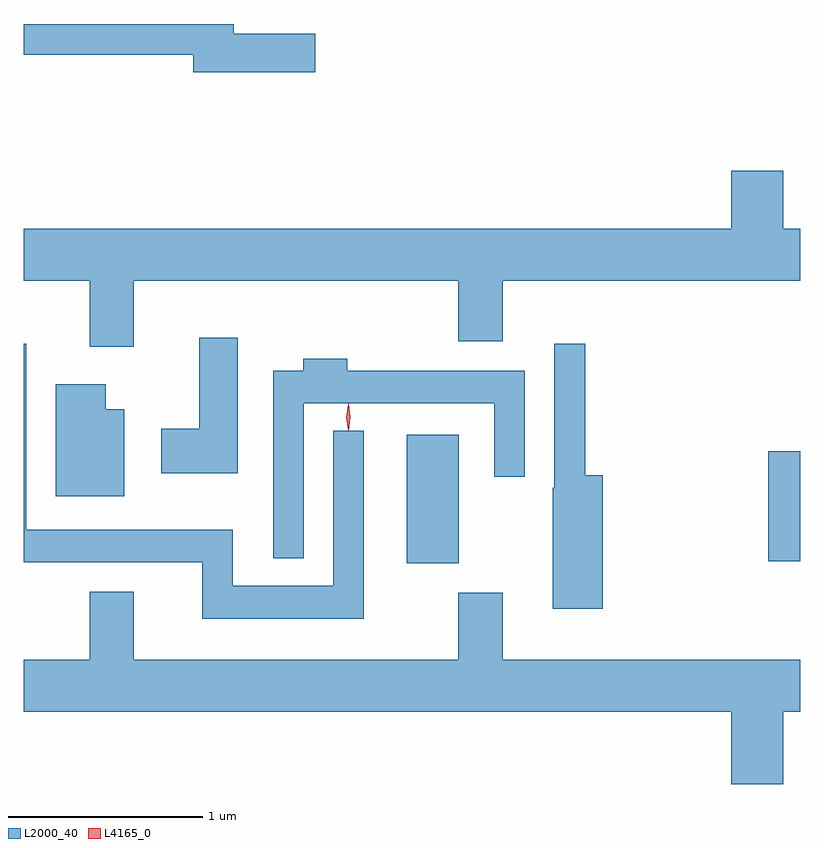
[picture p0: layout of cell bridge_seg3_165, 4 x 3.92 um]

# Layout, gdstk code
import gdstk
lib = gdstk.Library(unit=1e-6, precision=1e-09)
def R(c, l, rs):  # rectangles x0, y0, x1, y1
    for r in rs: c.add(gdstk.rectangle(r[:2], r[2:], *l))
def P(c, l, *ps):  # polygons
    for p in ps: c.add(gdstk.Polygon(p, *l))
L2000_40 = (2000, 40)
L4165_0 = (4165, 0)

bridge_seg3_165 = lib.new_cell('bridge_seg3_165')
R(bridge_seg3_165, L2000_40, [(892.726,1240.001,892.994,1240.664), (894.586,1240.011,894.752,1240.579)])
P(bridge_seg3_165, L2000_40, [(892.254,1242.729),(891.834,1242.729),(891.834,1242.779),(890.752,1242.779),(890.752,1242.621),(891.626,1242.621),(891.626,1242.531),(892.254,1242.531)],
  [(891.319,1241.456),(892.991,1241.456),(892.991,1241.146),(893.219,1241.146),(893.219,1241.456),(894.752,1241.456),(894.752,1241.724),(894.664,1241.724),(894.664,1242.024),(894.396,1242.024),(894.396,1241.724),(890.752,1241.724),(890.752,1241.456),(891.091,1241.456),(891.091,1241.116),(891.319,1241.116)],
  [(891.854,1241.164),(891.656,1241.164),(891.656,1240.694),(891.461,1240.694),(891.461,1240.466),(891.854,1240.466)],
  [(892.504,1240.683),(892.346,1240.683),(892.346,1239.884),(891.829,1239.884),(891.829,1240.174),(890.764,1240.174),(890.764,1241.133),(890.752,1241.133),(890.752,1240.006),(891.671,1240.006),(891.671,1239.716),(892.504,1239.716)],
  [(893.734,1240.454),(893.644,1240.454),(893.644,1241.133),(893.486,1241.133),(893.486,1240.39),(893.476,1240.39),(893.476,1239.766),(893.734,1239.766)],
  [(892.194,1240.826),(893.176,1240.826),(893.176,1240.448),(893.334,1240.448),(893.334,1240.994),(892.419,1240.994),(892.419,1241.054),(892.191,1241.054),(892.191,1240.994),(892.036,1240.994),(892.036,1240.028),(892.194,1240.028)],
  [(891.269,1240.794),(891.174,1240.794),(891.174,1240.924),(890.916,1240.924),(890.916,1240.346),(891.269,1240.346)],
  [(894.664,1239.236),(894.752,1239.236),(894.752,1239.504),(893.219,1239.504),(893.219,1239.849),(892.991,1239.849),(892.991,1239.504),(891.319,1239.504),(891.319,1239.854),(891.091,1239.854),(891.091,1239.504),(890.752,1239.504),(890.752,1239.236),(894.396,1239.236),(894.396,1238.864),(894.664,1238.864)])
P(bridge_seg3_165, L4165_0, [(892.423,1240.687),(892.423,1240.687),(892.413,1240.754),(892.423,1240.82),(892.423,1240.821),(892.424,1240.82),(892.433,1240.754),(892.424,1240.687)],
  [(892.424,1240.684),(892.415,1240.754),(892.424,1240.823),(892.425,1240.823),(892.425,1240.823),(892.435,1240.754),(892.425,1240.684),(892.425,1240.684)])

lib.write_gds('bridge_seg3_165.gds')
